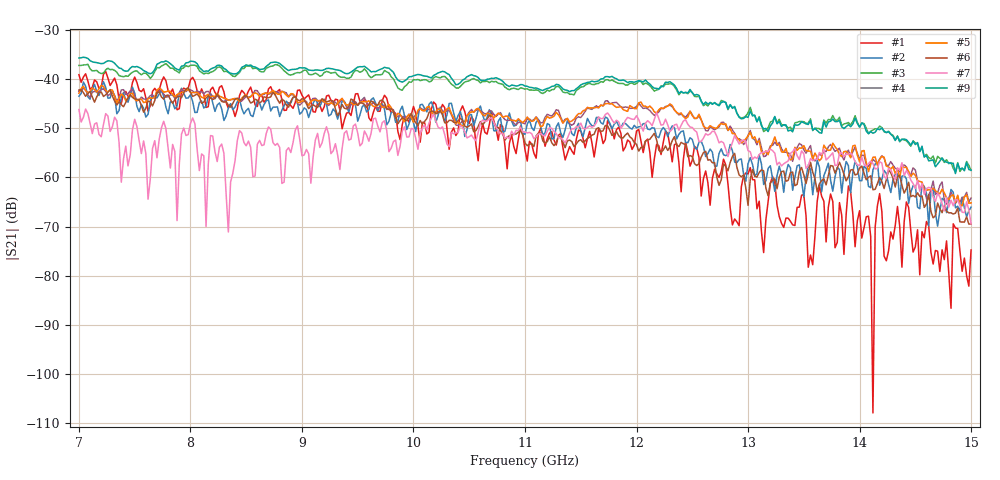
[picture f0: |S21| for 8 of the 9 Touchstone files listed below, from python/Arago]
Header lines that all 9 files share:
! CHANNEL.1
! TR.MEASUREMENT
! CORRECTED.DATA
! RF.CORRECTION: FULL.TWO.PORT.CAL.PORT.1.2
! AVERAGING.OFF
! IF.BANDWIDTH: 300HZ
! SWEEPTYPE:  FREQ.SWEEP(Linear)
! Reference Plane Port Info
! PORT:  PORT1  PORT2
! DISTANCE:  0  m  0  m
! TIME:  0  s  0  s
! PHASE.OFFSET:  0 °  0 °
! LOSS:  0  dB  0  dB
! REF.LOSS:  0  dB  0  dB
! REF.FREQ:  0  Hz  0  Hz
! Power Info
! POWER:  5  dBm  5  dBm
! EFF.POWER:  5  dBm  5  dBm
# GHZ S RI R 50.0
! FREQ.GHZ  S11RE  S11IM  S21RE  S21IM  S12RE  S12IM  S22RE  S22IM
!; PortSelection: Port_12
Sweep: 7 GHz to 15 GHz
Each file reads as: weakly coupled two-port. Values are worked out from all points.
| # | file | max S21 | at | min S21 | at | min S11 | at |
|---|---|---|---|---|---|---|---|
| 1 | arago_35.s2p | -38.49 dB | 7.24 GHz | -107.9 dB | 14.12 GHz | -49.3 dB | 9.56 GHz |
| 2 | arago_45.s2p | -40.57 dB | 7.22 GHz | -69.9 dB | 14.7 GHz | -41.3 dB | 12.02 GHz |
| 3 | group1_5.s2p | -36.89 dB | 7.78 GHz | -59.0 dB | 14.86 GHz | -42.0 dB | 9.56 GHz |
| 4 | group1_10.s2p | -41.86 dB | 7.04 GHz | -65.5 dB | 14.78 GHz | -40.6 dB | 9.56 GHz |
| 5 | group1_15.s2p | -41.31 dB | 7.2 GHz | -65.8 dB | 14.92 GHz | -42.6 dB | 9.56 GHz |
| 6 | group1_20.s2p | -41.79 dB | 7.98 GHz | -69.5 dB | 14.98 GHz | -42.8 dB | 9.56 GHz |
| 7 | group1_25.s2p | -46.12 dB | 7.06 GHz | -71.1 dB | 8.34 GHz | -43.9 dB | 10.72 GHz |
| 8 | group1_30.s2p | -36.07 dB | 7.24 GHz | -64.5 dB | 14.92 GHz | -38.8 dB | 9.48 GHz |
| 9 | no_arago.s2p | -35.60 dB | 7.04 GHz | -59.2 dB | 14.86 GHz | -48.7 dB | 7.38 GHz |
